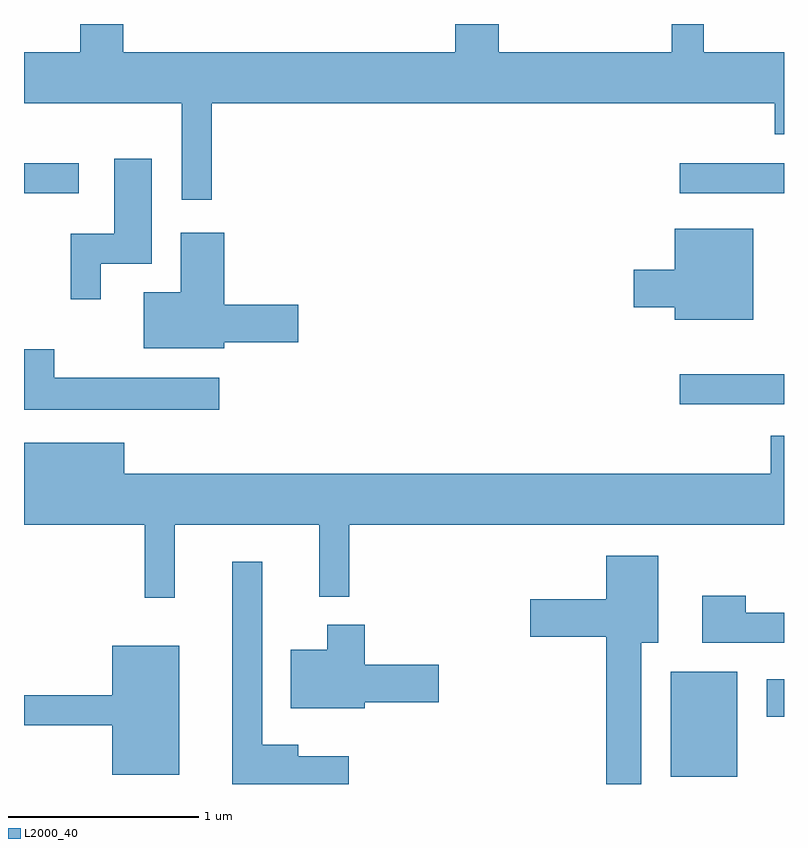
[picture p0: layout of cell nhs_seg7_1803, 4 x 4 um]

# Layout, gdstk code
import gdstk
lib = gdstk.Library(unit=1e-6, precision=1e-09)
def R(c, l, rs):  # rectangles x0, y0, x1, y1
    for r in rs: c.add(gdstk.rectangle(r[:2], r[2:], *l))
def P(c, l, *ps):  # polygons
    for p in ps: c.add(gdstk.Polygon(p, *l))
L2000_40 = (2000, 40)

nhs_seg7_1803 = lib.new_cell('nhs_seg7_1803')
R(nhs_seg7_1803, L2000_40, [(243.016,1746.291,243.364,1746.844), (243.521,1746.606,243.611,1746.804), (243.063,1748.251,243.611,1748.409), (239.611,1749.361,239.898,1749.519), (243.063,1749.361,243.611,1749.519)])
P(nhs_seg7_1803, L2000_40, [(240.599,1749.836),(243.561,1749.836),(243.561,1749.671),(243.611,1749.671),(243.611,1750.104),(243.189,1750.104),(243.189,1750.252),(243.021,1750.252),(243.021,1750.104),(242.109,1750.104),(242.109,1750.252),(241.881,1750.252),(241.881,1750.104),(240.134,1750.104),(240.134,1750.252),(239.906,1750.252),(239.906,1750.104),(239.611,1750.104),(239.611,1749.836),(240.441,1749.836),(240.441,1749.328),(240.599,1749.328)],
  [(240.014,1748.991),(240.284,1748.991),(240.284,1749.544),(240.086,1749.544),(240.086,1749.149),(239.856,1749.149),(239.856,1748.803),(240.014,1748.803)],
  [(243.449,1749.174),(243.036,1749.174),(243.036,1748.959),(242.821,1748.959),(242.821,1748.761),(243.036,1748.761),(243.036,1748.696),(243.449,1748.696)],
  [(240.664,1748.576),(241.054,1748.576),(241.054,1748.774),(240.664,1748.774),(240.664,1749.154),(240.436,1749.154),(240.436,1748.839),(240.241,1748.839),(240.241,1748.546),(240.664,1748.546)],
  [(240.638,1748.389),(239.769,1748.389),(239.769,1748.539),(239.611,1748.539),(239.611,1748.221),(240.638,1748.221)],
  [(240.404,1747.616),(241.166,1747.616),(241.166,1747.238),(241.324,1747.238),(241.324,1747.616),(243.611,1747.616),(243.611,1748.084),(243.541,1748.084),(243.541,1747.884),(240.139,1747.884),(240.139,1748.049),(239.611,1748.049),(239.611,1747.616),(240.246,1747.616),(240.246,1747.233),(240.404,1747.233)],
  [(242.859,1746.996),(242.949,1746.996),(242.949,1747.454),(242.676,1747.454),(242.676,1747.224),(242.276,1747.224),(242.276,1747.026),(242.676,1747.026),(242.676,1746.252),(242.859,1746.252)],
  [(241.319,1746.399),(241.054,1746.399),(241.054,1746.459),(240.864,1746.459),(240.864,1747.423),(240.706,1747.423),(240.706,1746.252),(241.319,1746.252)],
  [(243.611,1747.154),(243.409,1747.154),(243.409,1747.244),(243.181,1747.244),(243.181,1746.996),(243.611,1746.996)],
  [(241.404,1746.681),(241.794,1746.681),(241.794,1746.879),(241.404,1746.879),(241.404,1747.089),(241.206,1747.089),(241.206,1746.959),(241.016,1746.959),(241.016,1746.651),(241.404,1746.651)],
  [(240.429,1746.979),(240.076,1746.979),(240.076,1746.719),(239.611,1746.719),(239.611,1746.561),(240.076,1746.561),(240.076,1746.301),(240.429,1746.301)])

lib.write_gds('nhs_seg7_1803.gds')
